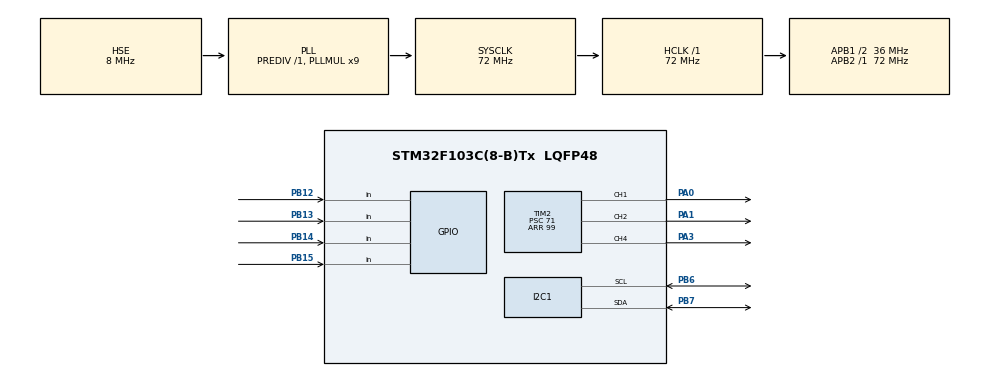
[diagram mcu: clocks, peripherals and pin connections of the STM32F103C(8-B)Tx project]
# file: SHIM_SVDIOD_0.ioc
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Mcu.Family=STM32F1
Mcu.Name=STM32F103C(8-B)Tx
Mcu.Package=LQFP48
NVIC.PriorityGroup=NVIC_PRIORITYGROUP_4
PA0-WKUP.Signal=S_TIM2_CH1_ETR
PA1.Signal=S_TIM2_CH2
PA3.Signal=S_TIM2_CH4
PB12.Signal=GPIO_Input
PB13.Signal=GPIO_Input
PB14.Signal=GPIO_Input
PB15.Signal=GPIO_Input
PB6.Mode=I2C
PB6.Signal=I2C1_SCL
PB7.Mode=I2C
PB7.Signal=I2C1_SDA
PD0-OSC_IN.Mode=HSE-External-Oscillator
PD0-OSC_IN.Signal=RCC_OSC_IN
PD1-OSC_OUT.Mode=HSE-External-Oscillator
PD1-OSC_OUT.Signal=RCC_OSC_OUT
ProjectManager.HeapSize=0x200
ProjectManager.StackSize=0x400
ProjectManager.TargetToolchain=STM32CubeIDE
RCC.AHBFreq_Value=72000000
RCC.APB1CLKDivider=RCC_HCLK_DIV2
RCC.APB1Freq_Value=36000000
RCC.APB1TimFreq_Value=72000000
RCC.APB2Freq_Value=72000000
RCC.APB2TimFreq_Value=72000000
RCC.HCLKFreq_Value=72000000
RCC.PLLMUL=RCC_PLL_MUL9
RCC.PLLSourceVirtual=RCC_PLLSOURCE_HSE
RCC.SYSCLKFreq_VALUE=72000000
RCC.SYSCLKSource=RCC_SYSCLKSOURCE_PLLCLK
RCC.USBFreq_Value=72000000
SH.S_TIM2_CH1_ETR.0=TIM2_CH1,PWM Generation1 CH1
SH.S_TIM2_CH2.0=TIM2_CH2,PWM Generation2 CH2
SH.S_TIM2_CH4.0=TIM2_CH4,PWM Generation4 CH4
TIM2.Channel-PWM\ Generation1\ CH1=TIM_CHANNEL_1
TIM2.Channel-PWM\ Generation2\ CH2=TIM_CHANNEL_2
TIM2.Channel-PWM\ Generation4\ CH4=TIM_CHANNEL_4
TIM2.OCMode_PWM-PWM\ Generation2\ CH2=TIM_OCMODE_PWM2
TIM2.Period=99
TIM2.Prescaler=71
VP_TIM2_VS_ClockSourceINT.Mode=Internal
board=custom

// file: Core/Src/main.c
/* USER CODE BEGIN Header */
/**
  ******************************************************************************
  * @file           : main.c
  * @brief          : Main program body
  ******************************************************************************
  * @attention
  *
  * Copyright (c) 2025 STMicroelectronics.
  * All rights reserved.
  *
  * This software is licensed under terms that can be found in the LICENSE file
  * in the root directory of this software component.
  * If no LICENSE file comes with this software, it is provided AS-IS.
  *
  ******************************************************************************
  */
/* USER CODE END Header */
#include "main.h"
#include <stdio.h>
#include <string.h>

/* USER CODE BEGIN Includes */
#include "lcd_i2c.h"
/* USER CODE END Includes */

/* USER CODE BEGIN PD */

#define KEY_1 GPIO_PIN_15
#define KEY_2 GPIO_PIN_14
#define KEY_3 GPIO_PIN_13
#define KEY_4 GPIO_PIN_12

/* USER CODE END PD */

I2C_HandleTypeDef hi2c1;

TIM_HandleTypeDef htim2;

/* USER CODE BEGIN PV */

LCD_I2C_HandleTypeDef hlcd;

// Состояние кнопок для антидребезга
typedef enum {
    KEY_STATE_RELEASED,
    KEY_STATE_PRESSED,
    KEY_STATE_HOLD
} KeyState_t;

typedef struct {
    uint8_t pin;
    KeyState_t state;      // Текущее состояние
    uint32_t press_time;   // Время последнего нажатия (в тиках)
    uint8_t is_pressed;    // Флаг, что кнопка нажата в данный момент
    uint32_t last_process_time; // Время последней обработки удержания
} KeyDebounce_t;

KeyDebounce_t key1 = {.pin = KEY_1, .state = KEY_STATE_RELEASED, .is_pressed = 0};
KeyDebounce_t key2 = {.pin = KEY_2, .state = KEY_STATE_RELEASED, .is_pressed = 0};
KeyDebounce_t key3 = {.pin = KEY_3, .state = KEY_STATE_RELEASED, .is_pressed = 0};
KeyDebounce_t key4 = {.pin = KEY_4, .state = KEY_STATE_RELEASED, .is_pressed = 0};

#define DEBOUNCE_TIME_MS    20   // Время антидребезга
#define HOLD_DELAY_MS       400  // Задержка перед началом ускоренного изменения
#define REPEAT_DELAY_MS     50   // Интервал изменения при удержании

// Состояния меню
typedef enum {
    MENU_MODE_SELECT,   // Выбор режима (грубо/плавно)
    MENU_STEP_SELECT,   // Выбор шага (для грубого режима)
    MENU_RUN_COARSE,    // Рабочий режим "Грубо"
    MENU_RUN_SMOOTH     // Рабочий режим "Плавно"
} MenuState_t;

MenuState_t menu_state = MENU_MODE_SELECT;
uint8_t step_size = 10; // Шаг для грубого режима (10% по умолчанию)
uint8_t current_step_select_index = 0; // 0 для 1%, 1 для 10%
const uint8_t step_options[] = {1, 10};

// Флаги для меню
uint8_t need_menu_redraw = 1;

uint8_t current_duty = 30; // начальное значение
uint8_t last_displayed_duty = 255; // для отслеживания изменений

/* USER CODE END PV */

void SystemClock_Config(void);
static void MX_GPIO_Init(void);
static void MX_TIM2_Init(void);
static void MX_I2C1_Init(void);

/* USER CODE BEGIN PFP */

void process_key(KeyDebounce_t *key) {
    uint8_t physical_state = (HAL_GPIO_ReadPin(GPIOB, key->pin) == GPIO_PIN_RESET);
    uint32_t now = HAL_GetTick();

    switch (key->state) {
        case KEY_STATE_RELEASED:
            if (physical_state) {
                // Потенциальное нажатие
                key->press_time = now;
                key->state = KEY_STATE_PRESSED;
            }
            break;

        case KEY_STATE_PRESSED:
            if (!physical_state) {
                // Ложное срабатывание
                key->state = KEY_STATE_RELEASED;
            } else if ((now - key->press_time) > DEBOUNCE_TIME_MS) {
                // Нажатие подтверждено
                key->state = KEY_STATE_HOLD;
                key->is_pressed = 1; // Сигнал для обработки в главном цикле
                key->press_time = now; // Сброс времени для отсчета HOLD_DELAY
                key->last_process_time = now;
            }
            break;

        case KEY_STATE_HOLD:
            if (!physical_state) {
                // Кнопка отпущена
                key->state = KEY_STATE_RELEASED;
                key->is_pressed = 0;
            }
            break;
    }
}

int8_t is_hold_action_needed(KeyDebounce_t *key) {
    if (key->state != KEY_STATE_HOLD) return 0;
    uint32_t now = HAL_GetTick();

    // Проверяем, прошла ли задержка перед началом ускорения
    if ((now - key->press_time) > HOLD_DELAY_MS) {
        // Проверяем, прошло ли достаточно времени с последнего изменения
        if ((now - key->last_process_time) > REPEAT_DELAY_MS) {
            key->last_process_time = now;
            return 1;
        }
    }
    return 0;
}

void set_push_pull_duty(uint8_t percent)
{
    if (percent > 100) percent = 100;
    uint32_t max_val = __HAL_TIM_GET_AUTORELOAD(&htim2); //опрос регистра ARR
    uint32_t val = (percent * max_val) / 100;

    __HAL_TIM_SET_COMPARE(&htim2, TIM_CHANNEL_1, val);
    __HAL_TIM_SET_COMPARE(&htim2, TIM_CHANNEL_2, max_val - val);
}

void set_led_brightness(uint8_t percent)
{
    if (percent > 100) percent = 100;
    uint32_t max_val = __HAL_TIM_GET_AUTORELOAD(&htim2);
    uint32_t val = (percent * max_val) / 100;
    __HAL_TIM_SET_COMPARE(&htim2, TIM_CHANNEL_4, val);
}

// Функция обновления дисплея
void update_display(uint8_t duty)
{
    char buffer[17]; // для строки 16 символов

    // Первая строка - значение ШИМ
        LCD_I2C_SetCursor(&hlcd, 0, 0);
        sprintf(buffer, "PWM: %3d%%    ", duty);
        LCD_I2C_Print(&hlcd, buffer);

    }

/* USER CODE END PFP */

int main(void)
{

  /* MCU Configuration--------------------------------------------------------*/

  /* Reset of all peripherals, Initializes the Flash interface and the Systick. */
  HAL_Init();

  /* Configure the system clock */
  SystemClock_Config();

  /* Initialize all configured peripherals */
  MX_GPIO_Init();
  MX_TIM2_Init();
  MX_I2C1_Init();
  /* USER CODE BEGIN 2 */

  // Инициализация дисплея
   LCD_I2C_Init(&hlcd, &hi2c1, 0x27);
   LCD_I2C_Clear(&hlcd);

    // Установка начальных значений
    set_push_pull_duty(current_duty);
    set_led_brightness(current_duty);
    update_display(current_duty);
    last_displayed_duty = current_duty;

  //Ш�?М и светодиод
  HAL_TIM_PWM_Start(&htim2, TIM_CHANNEL_1);
  HAL_TIM_PWM_Start(&htim2, TIM_CHANNEL_2);
  HAL_TIM_PWM_Start(&htim2, TIM_CHANNEL_4);

  /* USER CODE END 2 */

  /* Infinite loop */
  /* USER CODE BEGIN WHILE */
  while (1)
  {
	  // 1. Обрабатываем состояния кнопок (вызываем для каждой)
	        process_key(&key1);
	        process_key(&key2);
	        process_key(&key3);
	        process_key(&key4);

	        // 2. Обработка в зависимости от состояния меню
	        switch (menu_state) {
	            case MENU_MODE_SELECT:
	                if (need_menu_redraw) {
	                    LCD_I2C_Clear(&hlcd);
	                    LCD_I2C_SetCursor(&hlcd, 0, 0);
	                    LCD_I2C_Print(&hlcd, "Mode: 1.Coarse");
	                    LCD_I2C_SetCursor(&hlcd, 0, 1);
	                    LCD_I2C_Print(&hlcd, "      2.Smooth");
	                    need_menu_redraw = 0;
	                }

	                if (key1.is_pressed) { // Кнопка 1 - выбор "Грубо"
	                    menu_state = MENU_STEP_SELECT;
	                    current_step_select_index = 1; // По умолчанию 10%
	                    step_size = step_options[current_step_select_index];
	                    need_menu_redraw = 1;
	                    key1.is_pressed = 0; // Сбрасываем флаг
	                }
	                if (key2.is_pressed) { // Кнопка 2 - выбор "Плавно"
	                    menu_state = MENU_RUN_SMOOTH;
	                    LCD_I2C_Clear(&hlcd);
	                    need_menu_redraw = 1; // Чтобы обновился основной экран
	                    key2.is_pressed = 0;
	                }
	                break;

	            case MENU_STEP_SELECT:
	                if (need_menu_redraw) {
	                    LCD_I2C_Clear(&hlcd);
	                    LCD_I2C_SetCursor(&hlcd, 0, 0);
	                    LCD_I2C_Print(&hlcd, "Step: 1=1% 2=10%");
	                    LCD_I2C_SetCursor(&hlcd, 0, 1);
	                    LCD_I2C_Print(&hlcd, "Current:   ");
	                    LCD_I2C_SetCursor(&hlcd, 9, 1);
	                    char buf[3];
	                    sprintf(buf, "%d%%", step_options[current_step_select_index]);
	                    LCD_I2C_Print(&hlcd, buf);
	                    need_menu_redraw = 0;
	                }
	                // Навигация по шагам
	                if (key3.is_pressed) { // Кнопка 3 - выбор 1%
	                    current_step_select_index = 0;
	                    step_size = step_options[current_step_select_index];
	                    need_menu_redraw = 1;
	                    key3.is_pressed = 0;
	                }
	                if (key4.is_pressed) { // Кнопка 4 - выбор 10%
	                    current_step_select_index = 1;
	                    step_size = step_options[current_step_select_index];
	                    need_menu_redraw = 1;
	                    key4.is_pressed = 0;
	                }
	                // Подтверждение выбора (например, кнопкой 1)
	                if (key1.is_pressed) {
	                    step_size = step_options[current_step_select_index];
	                    menu_state = MENU_RUN_COARSE;
	                    LCD_I2C_Clear(&hlcd);
	                    need_menu_redraw = 1;
	                    key1.is_pressed = 0;
	                }
	                break;

	            case MENU_RUN_COARSE:
	                {
	                    uint8_t need_update = 0;

	                    // Обработка нажатий (однократных)
	                    if (key1.is_pressed) {
	                        if (current_duty + step_size <= 100) {
	                            current_duty += step_size;
	                            need_update = 1;
	                        }
	                        key1.is_pressed = 0;
	                    }
	                    if (key2.is_pressed) {
	                        if (current_duty >= step_size) {
	                            current_duty -= step_size;
	                        } else {
	                            current_duty = 0;
	                        }
	                        need_update = 1;
	                        key2.is_pressed = 0;
	                    }
	                    // Обработка удержания
	                    if (is_hold_action_needed(&key1)) {
	                        if (current_duty + 1 <= 100) current_duty += 1;
	                        need_update = 1;
	                    }
	                    if (is_hold_action_needed(&key2)) {
	                        if (current_duty >= 1) current_duty -= 1;
	                        else current_duty = 0;
	                        need_update = 1;
	                    }

	                    // Кнопки для смены шага (3 и 4)
	                    if (key3.is_pressed) {
	                        step_size = 1;
	                        key3.is_pressed = 0;
	                        // Можно кратковременно показать сообщение на дисплее
	                    }
	                    if (key4.is_pressed) {
	                        step_size = 10;
	                        key4.is_pressed = 0;
	                    }

	                    if (need_update) {
	                        set_push_pull_duty(current_duty);
	                        set_led_brightness(current_duty);
	                        update_display(current_duty);
	                    }
	                }
	                break;

	            case MENU_RUN_SMOOTH:
	                {
	                    uint8_t need_update = 0;
	                    // В плавном режиме работаем только через удержание
	                    if (is_hold_action_needed(&key1)) {
	                        if (current_duty < 100) current_duty++;
	                        need_update = 1;
	                    }
	                    if (is_hold_action_needed(&key2)) {
	                        if (current_duty > 0) current_duty--;
	                        need_update = 1;
	                    }
	                    // Кнопки 3 и 4 можно использовать для выхода в меню или сброса
	                    if (key3.is_pressed) {
	                        current_duty = 0;
	                        need_update = 1;
	                        key3.is_pressed = 0;
	                    }
	                    if (key4.is_pressed) {
	                        current_duty = 100;
	                        need_update = 1;
	                        key4.is_pressed = 0;
	                    }

	                    if (need_update) {
	                        set_push_pull_duty(current_duty);
	                        set_led_brightness(current_duty);
	                        update_display(current_duty);
	                    }
	                }
	                break;

	            default:
	                break;
	        }

	        HAL_Delay(10);

    /* USER CODE END WHILE */

  }
}

void SystemClock_Config(void)
{
  RCC_OscInitTypeDef RCC_OscInitStruct = {0};
  RCC_ClkInitTypeDef RCC_ClkInitStruct = {0};

  /** Initializes the RCC Oscillators according to the specified parameters
  * in the RCC_OscInitTypeDef structure.
  */
  RCC_OscInitStruct.OscillatorType = RCC_OSCILLATORTYPE_HSE;
  RCC_OscInitStruct.HSEState = RCC_HSE_ON;
  RCC_OscInitStruct.HSEPredivValue = RCC_HSE_PREDIV_DIV1;
  RCC_OscInitStruct.HSIState = RCC_HSI_ON;
  RCC_OscInitStruct.PLL.PLLState = RCC_PLL_ON;
  RCC_OscInitStruct.PLL.PLLSource = RCC_PLLSOURCE_HSE;
  RCC_OscInitStruct.PLL.PLLMUL = RCC_PLL_MUL9;
  if (HAL_RCC_OscConfig(&RCC_OscInitStruct) != HAL_OK)
  {
    Error_Handler();
  }

  /** Initializes the CPU, AHB and APB buses clocks
  */
  RCC_ClkInitStruct.ClockType = RCC_CLOCKTYPE_HCLK|RCC_CLOCKTYPE_SYSCLK
                              |RCC_CLOCKTYPE_PCLK1|RCC_CLOCKTYPE_PCLK2;
  RCC_ClkInitStruct.SYSCLKSource = RCC_SYSCLKSOURCE_PLLCLK;
  RCC_ClkInitStruct.AHBCLKDivider = RCC_SYSCLK_DIV1;
  RCC_ClkInitStruct.APB1CLKDivider = RCC_HCLK_DIV2;
  RCC_ClkInitStruct.APB2CLKDivider = RCC_HCLK_DIV1;

  if (HAL_RCC_ClockConfig(&RCC_ClkInitStruct, FLASH_LATENCY_2) != HAL_OK)
  {
    Error_Handler();
  }
}

static void MX_I2C1_Init(void)
{

  hi2c1.Instance = I2C1;
  hi2c1.Init.ClockSpeed = 100000;
  hi2c1.Init.DutyCycle = I2C_DUTYCYCLE_2;
  hi2c1.Init.OwnAddress1 = 0;
  hi2c1.Init.AddressingMode = I2C_ADDRESSINGMODE_7BIT;
  hi2c1.Init.DualAddressMode = I2C_DUALADDRESS_DISABLE;
  hi2c1.Init.OwnAddress2 = 0;
  hi2c1.Init.GeneralCallMode = I2C_GENERALCALL_DISABLE;
  hi2c1.Init.NoStretchMode = I2C_NOSTRETCH_DISABLE;
  if (HAL_I2C_Init(&hi2c1) != HAL_OK)
  {
    Error_Handler();
  }

}

static void MX_TIM2_Init(void)
{

  TIM_ClockConfigTypeDef sClockSourceConfig = {0};
  TIM_MasterConfigTypeDef sMasterConfig = {0};
  TIM_OC_InitTypeDef sConfigOC = {0};

  htim2.Instance = TIM2;
  htim2.Init.Prescaler = 71;
  htim2.Init.CounterMode = TIM_COUNTERMODE_UP;
  htim2.Init.Period = 99;
  htim2.Init.ClockDivision = TIM_CLOCKDIVISION_DIV1;
  htim2.Init.AutoReloadPreload = TIM_AUTORELOAD_PRELOAD_DISABLE;
  if (HAL_TIM_Base_Init(&htim2) != HAL_OK)
  {
    Error_Handler();
  }
  sClockSourceConfig.ClockSource = TIM_CLOCKSOURCE_INTERNAL;
  if (HAL_TIM_ConfigClockSource(&htim2, &sClockSourceConfig) != HAL_OK)
  {
    Error_Handler();
  }
  if (HAL_TIM_PWM_Init(&htim2) != HAL_OK)
  {
    Error_Handler();
  }
  sMasterConfig.MasterOutputTrigger = TIM_TRGO_RESET;
  sMasterConfig.MasterSlaveMode = TIM_MASTERSLAVEMODE_DISABLE;
  if (HAL_TIMEx_MasterConfigSynchronization(&htim2, &sMasterConfig) != HAL_OK)
  {
    Error_Handler();
  }
  sConfigOC.OCMode = TIM_OCMODE_PWM1;
  sConfigOC.Pulse = 0;
  sConfigOC.OCPolarity = TIM_OCPOLARITY_HIGH;
  sConfigOC.OCFastMode = TIM_OCFAST_DISABLE;
  if (HAL_TIM_PWM_ConfigChannel(&htim2, &sConfigOC, TIM_CHANNEL_1) != HAL_OK)
  {
    Error_Handler();
  }
  sConfigOC.OCMode = TIM_OCMODE_PWM2;
  if (HAL_TIM_PWM_ConfigChannel(&htim2, &sConfigOC, TIM_CHANNEL_2) != HAL_OK)
  {
    Error_Handler();
  }
  sConfigOC.OCMode = TIM_OCMODE_PWM1;
  if (HAL_TIM_PWM_ConfigChannel(&htim2, &sConfigOC, TIM_CHANNEL_4) != HAL_OK)
  {
    Error_Handler();
  }
  HAL_TIM_MspPostInit(&htim2);

}

static void MX_GPIO_Init(void)
{
  GPIO_InitTypeDef GPIO_InitStruct = {0};

  /* GPIO Ports Clock Enable */
  __HAL_RCC_GPIOD_CLK_ENABLE();
  __HAL_RCC_GPIOA_CLK_ENABLE();
  __HAL_RCC_GPIOB_CLK_ENABLE();

  /*Configure GPIO pins : PB12 PB13 PB14 PB15 */
  GPIO_InitStruct.Pin = GPIO_PIN_12|GPIO_PIN_13|GPIO_PIN_14|GPIO_PIN_15;
  GPIO_InitStruct.Mode = GPIO_MODE_INPUT;
  GPIO_InitStruct.Pull = GPIO_NOPULL;
  HAL_GPIO_Init(GPIOB, &GPIO_InitStruct);

}

void Error_Handler(void)
{
  __disable_irq();
  while (1)
  {
  }
}
